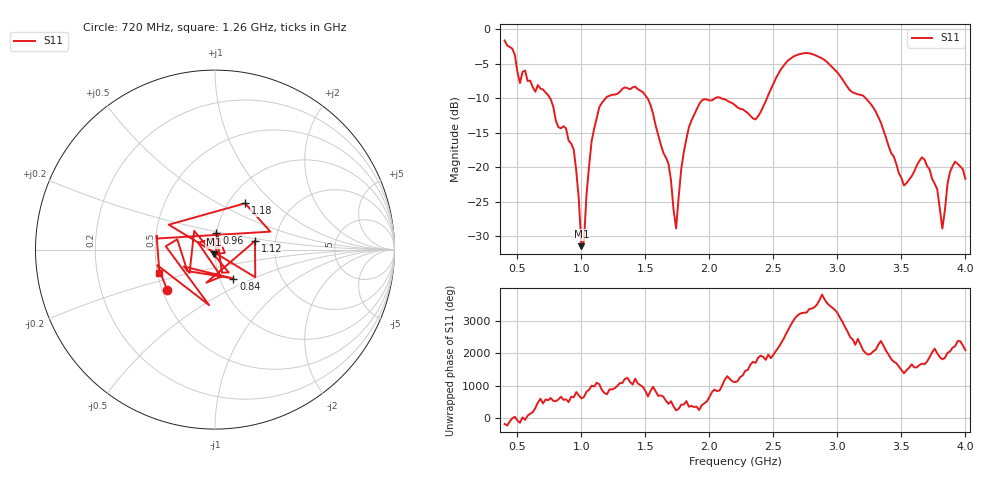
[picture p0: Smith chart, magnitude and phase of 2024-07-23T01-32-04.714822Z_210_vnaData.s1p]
!Created with skrf (http://scikit-rf.org).
# Hz S RI R 50.0
!freq ReS11 ImS11
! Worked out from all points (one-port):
!   181 points, 400 MHz to 4 GHz, reference 50 ohm
!   lowest |S11| = -31.5 dB at 1 GHz (marker M1), VSWR 1.05, Z = 49.1 - j2.51 ohm
!   |S11| at or under -10 dB: 755.1 MHz to 1.191 GHz (435.5 MHz wide, 44.8 % of centre); 1.515 GHz to 2.045 GHz (529.7 MHz wide, 29.8 % of centre); 3.221 GHz to end of sweep (the widest 3 of 4)
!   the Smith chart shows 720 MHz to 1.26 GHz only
!   S11 on the Smith chart (normalised r, x): 720 MHz: 0.53, -0.27; 840 MHz: 1.16, -0.39; 960 MHz: 1.00, +0.19; 1.12 GHz: 1.56, +0.16; 1.18 GHz: 1.19, +0.68; 1.26 GHz: 0.51, -0.15
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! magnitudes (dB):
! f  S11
! 400 MHz  -1.6
! 520 MHz  -7.8
! 720 MHz  -9.2
! 840 MHz  -14.4
! 860 MHz  -14.1
! 960 MHz  -20.5
! 1 GHz  -31.5
! 1.02 GHz  -30.7
! 1.08 GHz  -16.2
! 1.12 GHz  -12.9
! 1.18 GHz  -10.2
! 1.26 GHz  -9.5
! 1.3 GHz  -9.1
! 1.52 GHz  -10.1
! 1.68 GHz  -19.5
! 1.74 GHz  -28.9
! 1.76 GHz  -24.3
! 1.84 GHz  -14.2
! 1.92 GHz  -10.9
! 2.2 GHz  -11.0
! 2.36 GHz  -13.1
! 2.66 GHz  -3.9
! 3.1 GHz  -8.9
! 3.56 GHz  -21.8
! 3.68 GHz  -18.9
! 3.82 GHz  -28.9
! 3.9 GHz  -19.8
! 4 GHz  -21.7
